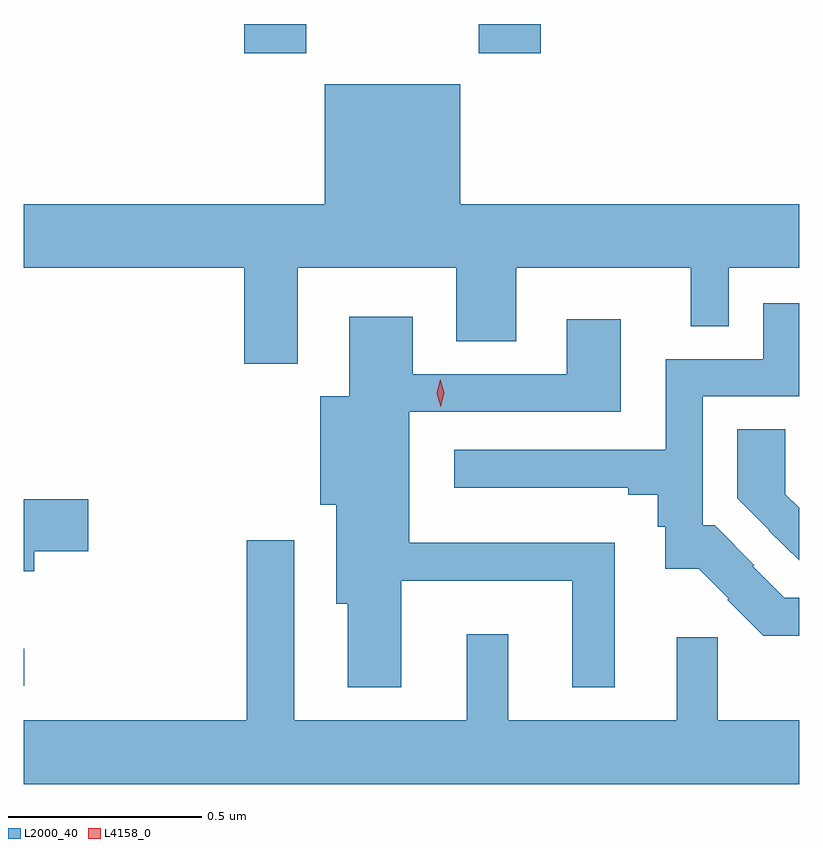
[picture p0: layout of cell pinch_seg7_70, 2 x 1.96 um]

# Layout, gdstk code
import gdstk
lib = gdstk.Library(unit=1e-6, precision=1e-09)
def R(c, l, rs):  # rectangles x0, y0, x1, y1
    for r in rs: c.add(gdstk.rectangle(r[:2], r[2:], *l))
def P(c, l, *ps):  # polygons
    for p in ps: c.add(gdstk.Polygon(p, *l))
L2000_40 = (2000, 40)
L4158_0 = (4158, 0)

pinch_seg7_70 = lib.new_cell('pinch_seg7_70')
R(pinch_seg7_70, L2000_40, [(999.306,1058.145,999.307,1058.241), (999.875,1059.777,1000.035,1059.853), (1000.48,1059.777,1000.64,1059.853)])
P(pinch_seg7_70, L2000_40, [(1000.012,1059.224),(1000.421,1059.224),(1000.421,1059.034),(1000.576,1059.034),(1000.576,1059.224),(1001.027,1059.224),(1001.027,1059.073),(1001.124,1059.073),(1001.124,1059.224),(1001.306,1059.224),(1001.306,1059.388),(1000.432,1059.388),(1000.432,1059.697),(1000.082,1059.697),(1000.082,1059.388),(999.306,1059.388),(999.306,1059.224),(999.875,1059.224),(999.875,1058.976),(1000.012,1058.976)],
  [(1001.306,1058.373),(1001.268,1058.373),(1001.187,1058.454),(1001.19,1058.457),(1001.088,1058.559),(1001.058,1058.559),(1001.058,1058.892),(1001.306,1058.892),(1001.306,1059.133),(1001.214,1059.133),(1001.214,1058.988),(1000.962,1058.988),(1000.962,1058.754),(1000.416,1058.754),(1000.416,1058.657),(1000.865,1058.657),(1000.865,1058.638),(1000.942,1058.638),(1000.942,1058.556),(1000.961,1058.556),(1000.961,1058.448),(1001.047,1058.448),(1001.124,1058.37),(1001.121,1058.368),(1001.213,1058.275),(1001.306,1058.275)],
  [(1000.279,1058.417),(1000.721,1058.417),(1000.721,1058.142),(1000.831,1058.142),(1000.831,1058.515),(1000.3,1058.515),(1000.3,1058.853),(1000.846,1058.853),(1000.846,1059.091),(1000.706,1059.091),(1000.706,1058.949),(1000.309,1058.949),(1000.309,1059.097),(1000.145,1059.097),(1000.145,1058.893),(1000.07,1058.893),(1000.07,1058.612),(1000.112,1058.612),(1000.112,1058.357),(1000.142,1058.357),(1000.142,1058.142),(1000.279,1058.142)],
  [(1001.306,1058.605),(1001.271,1058.64),(1001.271,1058.807),(1001.147,1058.807),(1001.147,1058.629),(1001.229,1058.547),(1001.228,1058.546),(1001.306,1058.469)],
  [(999.332,1058.492),(999.472,1058.492),(999.472,1058.627),(999.306,1058.627),(999.306,1058.441),(999.332,1058.441)],
  [(1001.306,1058.056),(1001.096,1058.056),(1001.096,1058.271),(1000.991,1058.271),(1000.991,1058.056),(1000.555,1058.056),(1000.555,1058.278),(1000.448,1058.278),(1000.448,1058.056),(1000.003,1058.056),(1000.003,1058.521),(999.881,1058.521),(999.881,1058.056),(999.306,1058.056),(999.306,1057.892),(1001.306,1057.892)])
P(pinch_seg7_70, L4158_0, [(1000.381,1058.865),(1000.371,1058.9),(1000.38,1058.936),(1000.38,1058.936),(1000.38,1058.936),(1000.391,1058.901),(1000.382,1058.865),(1000.382,1058.865)])

lib.write_gds('pinch_seg7_70.gds')
